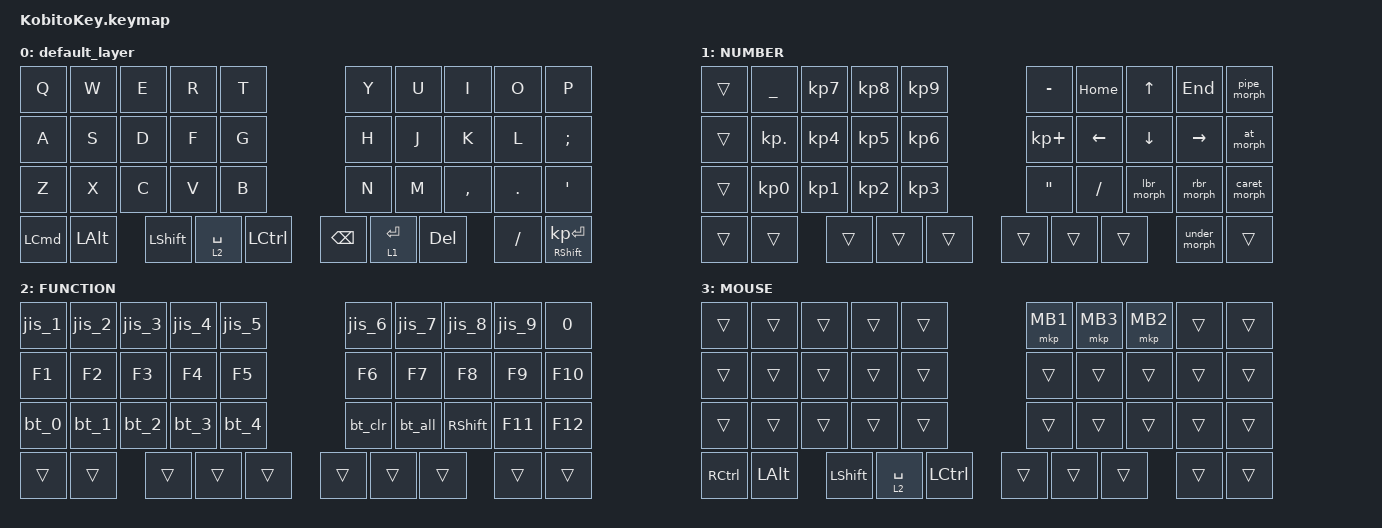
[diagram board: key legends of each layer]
#include <input/processors.dtsi>
#include <behaviors.dtsi>
#include <dt-bindings/zmk/bt.h>
#include <dt-bindings/zmk/keys.h>
#include <dt-bindings/zmk/pointing.h>

/* ルートノードの直前に追記：NFCピンを通常のGPIOとして開放 */
&uicr {
    nfct-pins-as-gpios;
};

// OS設定を日本語キーボードのまま使用するための変換定義
#define JP_DQUOTE       AT                // "
#define JP_AMPERSAND    CARET             // &
#define JP_QUOTE        AMPERSAND         // '
#define JP_EQUAL        UNDER             // =
#define JP_CARET        EQUAL             // ^
#define JP_YEN          0x89              // ¥
#define JP_PLUS         COLON             // +
#define JP_TILDE        PLUS              // ~
#define JP_PIPE         LS(0x89)          // |
#define JP_AT           LEFT_BRACKET      // @
#define JP_COLON        SINGLE_QUOTE      // :
#define JP_ASTERISK     DOUBLE_QUOTES     // *
#define JP_BACKQUOTE    LEFT_BRACE        // `
#define JP_UNDERSCORE   LS(0x87)          // _
#define JP_LBRACKET     RIGHT_BRACKET     // [
#define JP_RBRACKET     BACKSLASH         // ]
#define JP_LPAREN       ASTERISK          // (
#define JP_RPAREN       LEFT_PARENTHESIS  // )
#define JP_LBRACE       RIGHT_BRACE       // {
#define JP_RBRACE       PIPE              // }
#define JP_KANA         LANGUAGE_1        // かな
#define JP_EISU         LANGUAGE_2        // 英数
#define JP_HANZEN       GRAVE             // 半角/全角

/ {
    combos {
        compatible = "zmk,combos";

        /* ✨ 左手「Q + W」の同時押ししている間だけ、マウスレイヤー（Layer 3）を起動 */
        combo_mouse_momentary {
            timeout-ms = <50>;
            key-positions = <0 1>;
            bindings = <&mo 3>;
        };

        combo_eisu {
            timeout-ms = <50>;
            key-positions = <12 13>;
            bindings = <&kp LANG2>;
        };

        combo_kana {
            timeout-ms = <60>;
            key-positions = <16 17>;
            bindings = <&kp LANG1>;
        };

        combo_esc {
            timeout-ms = <60>;
            key-positions = <3 4>;
            bindings = <&kp ESC>;
        };

        combo_tab {
            timeout-ms = <60>;
            key-positions = <10 11>;
            bindings = <&kp TAB>;
        };

        combo_minus {
            bindings = <&kp MINUS>;
            key-positions = <8 9>;
            timeout-ms = <60>;
        };

        combo_tilda {
            bindings = <&kp JP_TILDE>;
            key-positions = <18 19>;
            timeout-ms = <60>;
        };

        combo_psc {
            bindings = <&kp PRINTSCREEN>;
            key-positions = <0 9>;
        };

        combo_caplock {
            bindings = <&kp LS(CAPSLOCK)>;
            key-positions = <20 21>;
        };

        combo_ctrl_tab {
            timeout-ms = <50>;
            key-positions = <21 22>;  
            bindings = <&kp LC(TAB)>;  
        };
    };

    behaviors {
        lbr_morph: left_bracket_morph {
            compatible = "zmk,behavior-mod-morph";
            label = "LBR_MORPH";
            #binding-cells = <0>;
            bindings = <&kp JP_LBRACKET>, <&kp JP_LBRACE>;
            mods = <(MOD_LSFT|MOD_RSFT)>;
        };
        rbr_morph: right_bracket_morph {
            compatible = "zmk,behavior-mod-morph";
            label = "RBR_MORPH";
            #binding-cells = <0>;
            bindings = <&kp JP_RBRACKET>, <&kp JP_RBRACE>;
            mods = <(MOD_LSFT|MOD_RSFT)>;
        };

        jis_1: jis_number_1 {
            compatible = "zmk,behavior-mod-morph";
            label = "JIS_1";
            #binding-cells = <0>;
            bindings = <&kp N1>, <&kp EXCL>;
            mods = <(MOD_LSFT|MOD_RSFT)>;
        };
        jis_2: jis_number_2 {
            compatible = "zmk,behavior-mod-morph";
            label = "JIS_2";
            #binding-cells = <0>;
            bindings = <&kp N2>, <&kp JP_DQUOTE>;
            mods = <(MOD_LSFT|MOD_RSFT)>;
        };
        jis_3: jis_number_3 {
            compatible = "zmk,behavior-mod-morph";
            label = "JIS_3";
            #binding-cells = <0>;
            bindings = <&kp N3>, <&kp HASH>;
            mods = <(MOD_LSFT|MOD_RSFT)>;
        };
        jis_4: jis_number_4 {
            compatible = "zmk,behavior-mod-morph";
            label = "JIS_4";
            #binding-cells = <0>;
            bindings = <&kp N4>, <&kp DLLR>;
            mods = <(MOD_LSFT|MOD_RSFT)>;
        };
        jis_5: jis_number_5 {
            compatible = "zmk,behavior-mod-morph";
            label = "JIS_5";
            #binding-cells = <0>;
            bindings = <&kp N5>, <&kp PRCNT>;
            mods = <(MOD_LSFT|MOD_RSFT)>;
        };
        jis_6: jis_number_6 {
            compatible = "zmk,behavior-mod-morph";
            label = "JIS_6";
            #binding-cells = <0>;
            bindings = <&kp N6>, <&kp JP_AMPERSAND>;
            mods = <(MOD_LSFT|MOD_RSFT)>;
        };
        jis_7: jis_number_7 {
            compatible = "zmk,behavior-mod-morph";
            label = "JIS_7";
            #binding-cells = <0>;
            bindings = <&kp N7>, <&kp JP_QUOTE>;
            mods = <(MOD_LSFT|MOD_RSFT)>;
        };
        jis_8: jis_number_8 {
            compatible = "zmk,behavior-mod-morph";
            label = "JIS_8";
            #binding-cells = <0>;
            bindings = <&kp N8>, <&kp JP_LPAREN>;
            mods = <(MOD_LSFT|MOD_RSFT)>;
        };
        jis_9: jis_number_9 {
            compatible = "zmk,behavior-mod-morph";
            label = "JIS_9";
            #binding-cells = <0>;
            bindings = <&kp N9>, <&kp JP_RPAREN>;
            mods = <(MOD_LSFT|MOD_RSFT)>;
        };
        caret_morph: caret_morph {
            compatible = "zmk,behavior-mod-morph";
            label = "CARET_MORPH";
            #binding-cells = <0>;
            bindings = <&kp JP_CARET>, <&kp JP_TILDE>;
            mods = <(MOD_LSFT|MOD_RSFT)>;
        };
        pipe_morph: pipe_morph {
            compatible = "zmk,behavior-mod-morph";
            label = "PIPE_MORPH";
            #binding-cells = <0>;
            bindings = <&kp JP_YEN>, <&kp JP_PIPE>;
            mods = <(MOD_LSFT|MOD_RSFT)>;
        };
        at_morph: at_morph {
            compatible = "zmk,behavior-mod-morph";
            label = "AT_MORPH";
            #binding-cells = <0>;
            bindings = <&kp JP_AT>, <&kp JP_BACKQUOTE>;
            mods = <(MOD_LSFT|MOD_RSFT)>;
        };
        under_morph: under_morph {
            compatible = "zmk,behavior-mod-morph";
            label = "UNDER_MORPH";
            #binding-cells = <0>;
            bindings = <&kp 0x87>, <&kp JP_UNDERSCORE>;
            mods = <(MOD_LSFT|MOD_RSFT)>;
        };
        bt_0: bt_profile_0_safe {
            compatible = "zmk,behavior-mod-morph";
            label = "BT_0_SAFE";
            #binding-cells = <0>;
            bindings = <&none>, <&bt BT_SEL 0>;
            mods = <(MOD_LCTL|MOD_RCTL)>;
        };
        bt_1: bt_profile_1_safe {
            compatible = "zmk,behavior-mod-morph";
            label = "BT_1_SAFE";
            #binding-cells = <0>;
            bindings = <&none>, <&bt BT_SEL 1>;
            mods = <(MOD_LCTL|MOD_RCTL)>;
        };
        bt_2: bt_profile_2_safe {
            compatible = "zmk,behavior-mod-morph";
            label = "BT_2_SAFE";
            #binding-cells = <0>;
            bindings = <&none>, <&bt BT_SEL 2>;
            mods = <(MOD_LCTL|MOD_RCTL)>;
        };
        bt_3: bt_profile_3_safe {
            compatible = "zmk,behavior-mod-morph";
            label = "BT_3_SAFE";
            #binding-cells = <0>;
            bindings = <&none>, <&bt BT_SEL 3>;
            mods = <(MOD_LCTL|MOD_RCTL)>;
        };
        bt_4: bt_profile_4_safe {
            compatible = "zmk,behavior-mod-morph";
            label = "BT_4_SAFE";
            #binding-cells = <0>;
            bindings = <&none>, <&bt BT_SEL 4>;
            mods = <(MOD_LCTL|MOD_RCTL)>;
        };
        bt_clr: bt_clear_safe {
            compatible = "zmk,behavior-mod-morph";
            label = "BT_CLR_SAFE";
            #binding-cells = <0>;
            bindings = <&none>, <&bt BT_CLR>;
            mods = <(MOD_LCTL|MOD_RCTL)>;
        };
        bt_all: bt_clear_all_safe {
            compatible = "zmk,behavior-mod-morph";
            label = "BT_ALL_SAFE";
            #binding-cells = <0>;
            bindings = <&none>, <&bt BT_CLR_ALL>;
            mods = <(MOD_LCTL|MOD_RCTL)>;
        };
    };

    keymap {
        compatible = "zmk,keymap";
        default_layer {
            bindings = <
&kp Q      &kp W      &kp E      &kp R        &kp T      &kp Y     &kp U        &kp I       &kp O      &kp P
&kp A      &kp S      &kp D      &kp F        &kp G      &kp H     &kp J        &kp K       &kp L      &kp SEMI
&kp Z      &kp X      &kp C      &kp V        &kp B      &kp N     &kp M        &kp COMMA   &kp DOT    &kp APOS
&kp LCMD   &kp LALT   &kp LSHFT  &lt 2 SPACE  &kp LCTRL  &kp BSPC  &lt 1 ENTER  &kp DELETE  &kp SLASH  &mt RSHFT KP_ENTER
            >;
        };

        layer1 {
            label = "NUMBER";
            bindings = <
&trans  &kp JP_EQUAL  &kp KP_N7  &kp KP_N8  &kp KP_N9  &kp MINUS        &kp HOME   &kp UP      &kp END       &pipe_morph
&trans  &kp KP_DOT    &kp KP_N4  &kp KP_N5  &kp KP_N6  &kp KP_PLUS      &kp LEFT   &kp DOWN    &kp RIGHT     &at_morph
&trans  &kp KP_N0     &kp KP_N1  &kp KP_N2  &kp KP_N3  &kp JP_ASTERISK  &kp SLASH  &lbr_morph  &rbr_morph    &caret_morph
&trans  &trans        &trans     &trans     &trans     &trans           &trans     &trans      &under_morph  &trans      
            >;
        };

        layer2 {
            label = "FUNCTION";
            bindings = <
&jis_1  &jis_2  &jis_3  &jis_4  &jis_5  &jis_6   &jis_7   &jis_8     &jis_9   &kp N0
&kp F1  &kp F2  &kp F3  &kp F4  &kp F5  &kp F6   &kp F7   &kp F8     &kp F9   &kp F10
&bt_0   &bt_1   &bt_2   &bt_3   &bt_4   &bt_clr  &bt_all  &kp RSHFT  &kp F11  &kp F12
&trans  &trans  &trans  &trans  &trans  &trans   &trans   &trans     &trans   &trans
            >;
        };

/* ✨ 3D/2Dクリエイター特化レイヤー（修飾キー直接配置版） */
        layer3 {
            label = "MOUSE";
            bindings = <
&trans     &trans    &trans     &trans       &trans     &mkp MB1  &mkp MB3  &mkp MB2  &trans    &trans
&trans     &trans    &trans     &trans       &trans     &trans  &trans    &trans      &trans    &trans
&trans     &trans    &trans     &trans       &trans     &trans  &trans    &trans      &trans    &trans
&kp RCTRL  &kp LALT  &kp LSHFT  &lt 2 SPACE  &kp LCTRL  &trans  &trans    &trans      &trans    &trans
            >;
        };
    };
};
